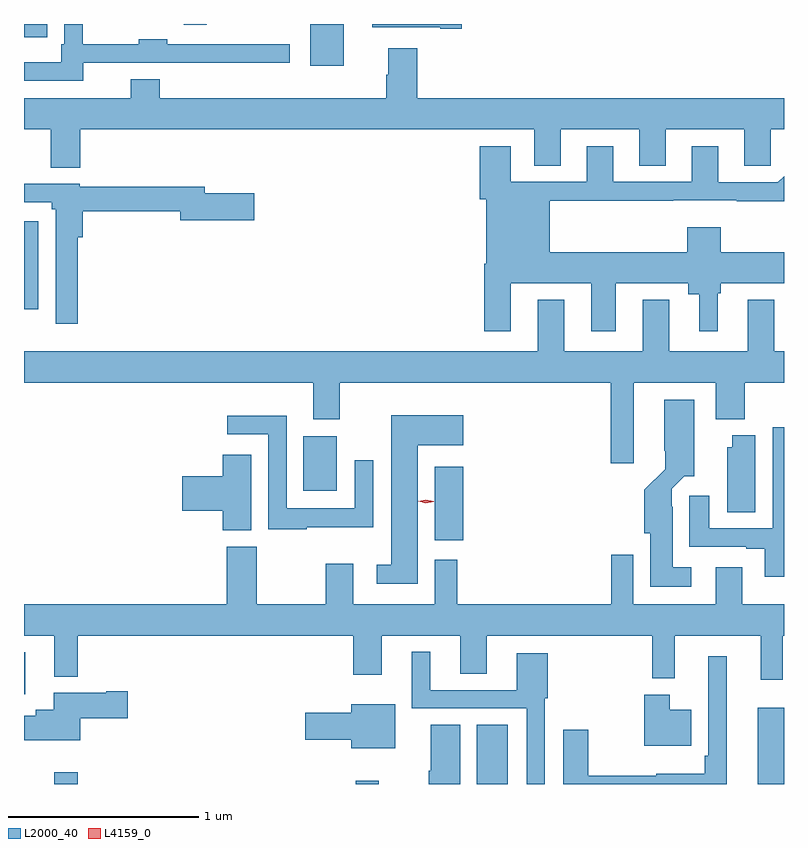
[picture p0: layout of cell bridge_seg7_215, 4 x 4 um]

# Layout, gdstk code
import gdstk
lib = gdstk.Library(unit=1e-6, precision=1e-09)
def R(c, l, rs):  # rectangles x0, y0, x1, y1
    for r in rs: c.add(gdstk.rectangle(r[:2], r[2:], *l))
def P(c, l, *ps):  # polygons
    for p in ps: c.add(gdstk.Polygon(p, *l))
L2000_40 = (2000, 40)
L4159_0 = (4159, 0)

bridge_seg7_215 = lib.new_cell('bridge_seg7_215')
R(bridge_seg7_215, L2000_40, [(311.201,1018.483,311.323,1018.546), (312.787,1018.483,312.908,1018.501), (313.424,1018.483,313.588,1018.796), (314.903,1018.483,315.041,1018.885), (311.041,1018.955,311.047,1019.176), (313.202,1019.765,313.352,1020.154), (312.512,1020.026,312.688,1020.313), (311.041,1020.982,311.116,1021.444), (312.548,1022.264,312.724,1022.483), (311.041,1022.412,311.163,1022.483), (311.882,1022.478,312.004,1022.483)])
P(bridge_seg7_215, L2000_40, [(313.345,1022.483),(312.875,1022.483),(312.875,1022.465),(313.232,1022.465),(313.232,1022.458),(313.345,1022.458)],
  [(311.352,1022.279),(312.439,1022.279),(312.439,1022.377),(312.1,1022.377),(312.1,1022.376),(311.796,1022.376),(311.796,1022.404),(311.646,1022.404),(311.646,1022.376),(311.349,1022.376),(311.349,1022.483),(311.253,1022.483),(311.253,1022.377),(311.237,1022.377),(311.237,1022.281),(311.041,1022.281),(311.041,1022.184),(311.352,1022.184)],
  [(311.336,1021.928),(313.727,1021.928),(313.727,1021.738),(313.867,1021.738),(313.867,1021.928),(314.279,1021.928),(314.279,1021.738),(314.419,1021.738),(314.419,1021.928),(314.831,1021.928),(314.831,1021.738),(314.97,1021.738),(314.97,1021.928),(315.041,1021.928),(315.041,1022.092),(313.112,1022.092),(313.112,1022.356),(312.959,1022.356),(312.959,1022.216),(312.947,1022.216),(312.947,1022.092),(311.756,1022.092),(311.756,1022.191),(311.603,1022.191),(311.603,1022.092),(311.041,1022.092),(311.041,1021.928),(311.183,1021.928),(311.183,1021.726),(311.336,1021.726)],
  [(313.603,1021.118),(314.027,1021.118),(314.027,1020.867),(314.155,1020.867),(314.155,1021.118),(314.536,1021.118),(314.536,1021.061),(314.594,1021.061),(314.594,1020.867),(314.692,1020.867),(314.692,1021.065),(314.709,1021.065),(314.709,1021.118),(315.041,1021.118),(315.041,1021.282),(314.709,1021.282),(314.709,1021.414),(314.531,1021.414),(314.531,1021.282),(313.807,1021.282),(313.807,1021.552),(314.459,1021.552),(314.459,1021.556),(314.791,1021.556),(314.791,1021.55),(315.041,1021.55),(315.041,1021.682),(315.009,1021.65),(314.695,1021.65),(314.695,1021.84),(314.555,1021.84),(314.555,1021.653),(314.143,1021.653),(314.143,1021.84),(314.003,1021.84),(314.003,1021.653),(313.603,1021.653),(313.603,1021.84),(313.439,1021.84),(313.439,1021.56),(313.475,1021.56),(313.475,1021.222),(313.463,1021.222),(313.463,1020.867),(313.603,1020.867)],
  [(311.324,1021.361),(311.351,1021.361),(311.351,1021.498),(311.864,1021.498),(311.864,1021.451),(312.253,1021.451),(312.253,1021.593),(311.992,1021.593),(311.992,1021.627),(311.334,1021.627),(311.334,1021.641),(311.041,1021.641),(311.041,1021.545),(311.186,1021.545),(311.186,1021.509),(311.208,1021.509),(311.208,1020.906),(311.324,1020.906)],
  [(314.129,1020.171),(314.251,1020.171),(314.251,1020.596),(314.681,1020.596),(314.681,1020.404),(314.834,1020.404),(314.834,1020.596),(315.041,1020.596),(315.041,1020.76),(314.989,1020.76),(314.989,1021.033),(314.849,1021.033),(314.849,1020.76),(314.437,1020.76),(314.437,1021.033),(314.297,1021.033),(314.297,1020.76),(313.885,1020.76),(313.885,1021.033),(313.745,1021.033),(313.745,1020.76),(311.041,1020.76),(311.041,1020.596),(312.563,1020.596),(312.563,1020.402),(312.703,1020.402),(312.703,1020.596),(314.129,1020.596)],
  [(314.554,1019.623),(314.455,1019.623),(314.455,1019.942),(314.451,1019.942),(314.451,1020.036),(314.517,1020.102),(314.569,1020.102),(314.569,1020.505),(314.411,1020.505),(314.411,1020.238),(314.415,1020.238),(314.415,1020.14),(314.306,1020.031),(314.306,1019.802),(314.336,1019.802),(314.336,1019.522),(314.554,1019.522)],
  [(313.114,1020.266),(313.354,1020.266),(313.354,1020.424),(312.974,1020.424),(312.974,1019.636),(312.897,1019.636),(312.897,1019.538),(313.114,1019.538)],
  [(312.53,1019.834),(312.879,1019.834),(312.879,1020.187),(312.783,1020.187),(312.783,1019.935),(312.423,1019.935),(312.423,1020.421),(312.111,1020.421),(312.111,1020.324),(312.327,1020.324),(312.327,1019.824),(312.53,1019.824)],
  [(315.041,1020.361),(314.981,1020.361),(314.981,1019.829),(314.647,1019.829),(314.647,1020.001),(314.543,1020.001),(314.543,1019.733),(314.843,1019.733),(314.843,1019.721),(314.939,1019.721),(314.939,1019.574),(315.041,1019.574)],
  [(314.89,1020.319),(314.768,1020.319),(314.768,1020.255),(314.741,1020.255),(314.741,1019.914),(314.89,1019.914)],
  [(312.238,1020.217),(312.086,1020.217),(312.086,1020.104),(311.874,1020.104),(311.874,1019.921),(312.086,1019.921),(312.086,1019.818),(312.238,1019.818)],
  [(315.035,1019.264),(315.041,1019.264),(315.041,1019.428),(314.821,1019.428),(314.821,1019.623),(314.681,1019.623),(314.681,1019.428),(314.247,1019.428),(314.247,1019.689),(314.131,1019.689),(314.131,1019.428),(313.321,1019.428),(313.321,1019.662),(313.202,1019.662),(313.202,1019.428),(312.775,1019.428),(312.775,1019.641),(312.628,1019.641),(312.628,1019.428),(312.267,1019.428),(312.267,1019.733),(312.107,1019.733),(312.107,1019.428),(311.041,1019.428),(311.041,1019.264),(311.201,1019.264),(311.201,1019.048),(311.323,1019.048),(311.323,1019.264),(312.773,1019.264),(312.773,1019.058),(312.925,1019.058),(312.925,1019.264),(313.337,1019.264),(313.337,1019.062),(313.477,1019.062),(313.477,1019.264),(314.347,1019.264),(314.347,1019.039),(314.465,1019.039),(314.465,1019.264),(314.918,1019.264),(314.918,1019.031),(315.035,1019.031)],
  [(313.782,1018.934),(313.798,1018.934),(313.798,1019.17),(313.634,1019.17),(313.634,1018.977),(313.18,1018.977),(313.18,1019.179),(313.082,1019.179),(313.082,1018.881),(313.686,1018.881),(313.686,1018.483),(313.782,1018.483)],
  [(314.74,1019.155),(314.643,1019.155),(314.643,1018.633),(314.623,1018.633),(314.623,1018.537),(314.369,1018.537),(314.369,1018.526),(314.01,1018.526),(314.01,1018.768),(313.88,1018.768),(313.88,1018.483),(314.74,1018.483)],
  [(311.338,1018.829),(311.587,1018.829),(311.587,1018.971),(311.474,1018.971),(311.474,1018.963),(311.198,1018.963),(311.198,1018.873),(311.102,1018.873),(311.102,1018.841),(311.041,1018.841),(311.041,1018.712),(311.338,1018.712)],
  [(314.554,1018.873),(314.44,1018.873),(314.44,1018.954),(314.306,1018.954),(314.306,1018.685),(314.554,1018.685)],
  [(312.994,1018.903),(312.764,1018.903),(312.764,1018.857),(312.522,1018.857),(312.522,1018.715),(312.764,1018.715),(312.764,1018.67),(312.994,1018.67)],
  [(313.336,1018.796),(313.181,1018.796),(313.181,1018.554),(313.172,1018.554),(313.172,1018.483),(313.336,1018.483)])
P(bridge_seg7_215, L4159_0, [(313.156,1019.96),(313.115,1019.97),(313.115,1019.97),(313.115,1019.97),(313.156,1019.98),(313.197,1019.97),(313.198,1019.969),(313.197,1019.969)])

lib.write_gds('bridge_seg7_215.gds')
